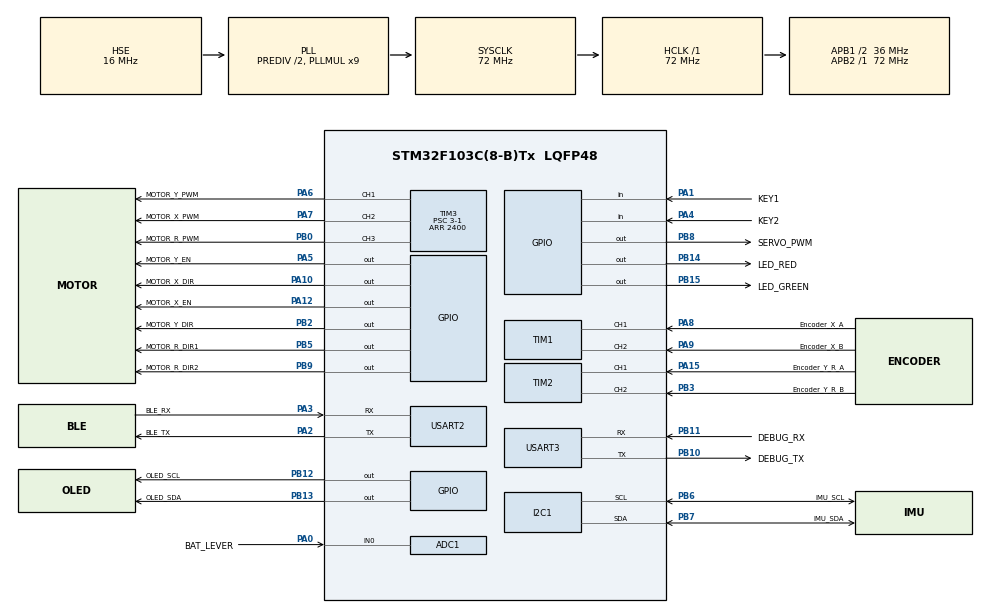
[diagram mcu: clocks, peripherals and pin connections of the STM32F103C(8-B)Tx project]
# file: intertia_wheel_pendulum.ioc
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ADC1.Channel-0\#ChannelRegularConversion=ADC_CHANNEL_0
ADC1.NbrOfConversionFlag=1
ADC1.Rank-0\#ChannelRegularConversion=1
ADC1.SamplingTime-0\#ChannelRegularConversion=ADC_SAMPLETIME_1CYCLE_5
ADC1.master=1
I2C1.I2C_Mode=I2C_Fast
Mcu.Family=STM32F1
Mcu.Name=STM32F103C(8-B)Tx
Mcu.Package=LQFP48
NVIC.PriorityGroup=NVIC_PRIORITYGROUP_4
NVIC.TIM4_IRQn=true\:0\:0\:false\:false\:true\:true\:true
PA0-WKUP.GPIO_Label=BAT_LEVER
PA0-WKUP.Signal=ADCx_IN0
PA1.GPIO_Label=KEY1
PA1.GPIO_PuPd=GPIO_PULLUP
PA1.Signal=GPIO_Input
PA10.GPIO_Label=MOTOR_X_DIR
PA10.Signal=GPIO_Output
PA12.GPIO_Label=MOTOR_X_EN
PA12.Signal=GPIO_Output
PA13.Mode=Serial_Wire
PA13.Signal=SYS_JTMS-SWDIO
PA14.Mode=Serial_Wire
PA14.Signal=SYS_JTCK-SWCLK
PA15.GPIO_Label=Encoder_Y_R_A
PA15.Signal=S_TIM2_CH1_ETR
PA2.GPIO_Label=BLE_TX
PA2.Mode=Asynchronous
PA2.Signal=USART2_TX
PA3.GPIO_Label=BLE_RX
PA3.Mode=Asynchronous
PA3.Signal=USART2_RX
PA4.GPIO_Label=KEY2
PA4.GPIO_PuPd=GPIO_PULLUP
PA4.Signal=GPIO_Input
PA5.GPIO_Label=MOTOR_Y_EN
PA5.Signal=GPIO_Output
PA6.GPIO_Label=MOTOR_Y_PWM
PA6.Signal=S_TIM3_CH1
PA7.GPIO_Label=MOTOR_X_PWM
PA7.Signal=S_TIM3_CH2
PA8.GPIO_Label=Encoder_X_A
PA8.Signal=S_TIM1_CH1
PA9.GPIO_Label=Encoder_X_B
PA9.Signal=S_TIM1_CH2
PB0.GPIO_Label=MOTOR_R_PWM
PB0.Signal=S_TIM3_CH3
PB10.GPIO_Label=DEBUG_TX
PB10.Mode=Asynchronous
PB10.Signal=USART3_TX
PB11.GPIO_Label=DEBUG_RX
PB11.Mode=Asynchronous
PB11.Signal=USART3_RX
PB12.GPIO_Label=OLED_SCL
PB12.GPIO_ModeDefaultOutputPP=GPIO_MODE_OUTPUT_OD
PB12.Signal=GPIO_Output
PB13.GPIO_Label=OLED_SDA
PB13.GPIO_ModeDefaultOutputPP=GPIO_MODE_OUTPUT_OD
PB13.Signal=GPIO_Output
PB14.GPIO_Label=LED_RED
PB14.Signal=GPIO_Output
PB15.GPIO_Label=LED_GREEN
PB15.Signal=GPIO_Output
PB2.GPIO_Label=MOTOR_Y_DIR
PB2.Signal=GPIO_Output
PB3.GPIO_Label=Encoder_Y_R_B
PB3.Signal=S_TIM2_CH2
PB5.GPIO_Label=MOTOR_R_DIR1
PB5.Signal=GPIO_Output
PB6.GPIO_Label=IMU_SCL
PB6.Mode=I2C
PB6.Signal=I2C1_SCL
PB7.GPIO_Label=IMU_SDA
PB7.Mode=I2C
PB7.Signal=I2C1_SDA
PB8.GPIO_Label=SERVO_PWM
PB8.Signal=GPIO_Output
PB9.GPIO_Label=MOTOR_R_DIR2
PB9.Signal=GPIO_Output
PD0-OSC_IN.Mode=HSE-External-Oscillator
PD0-OSC_IN.Signal=RCC_OSC_IN
PD1-OSC_OUT.Mode=HSE-External-Oscillator
PD1-OSC_OUT.Signal=RCC_OSC_OUT
ProjectManager.HeapSize=0x200
ProjectManager.StackSize=0x400
ProjectManager.TargetToolchain=MDK-ARM V5.27
RCC.ADCPresc=RCC_ADCPCLK2_DIV6
RCC.AHBFreq_Value=72000000
RCC.APB1CLKDivider=RCC_HCLK_DIV2
RCC.APB1Freq_Value=36000000
RCC.APB1TimFreq_Value=72000000
RCC.APB2Freq_Value=72000000
RCC.APB2TimFreq_Value=72000000
RCC.HCLKFreq_Value=72000000
RCC.HSEDivPLL=RCC_HSE_PREDIV_DIV2
RCC.HSE_VALUE=16000000
RCC.PLLMUL=RCC_PLL_MUL9
RCC.PLLSourceVirtual=RCC_PLLSOURCE_HSE
RCC.SYSCLKFreq_VALUE=72000000
RCC.SYSCLKSource=RCC_SYSCLKSOURCE_PLLCLK
RCC.USBFreq_Value=72000000
SH.ADCx_IN0.0=ADC1_IN0,IN0
SH.S_TIM1_CH1.0=TIM1_CH1,Encoder_Interface
SH.S_TIM1_CH2.0=TIM1_CH2,Encoder_Interface
SH.S_TIM2_CH1_ETR.0=TIM2_CH1,Encoder_Interface
SH.S_TIM2_CH2.0=TIM2_CH2,Encoder_Interface
SH.S_TIM3_CH1.0=TIM3_CH1,PWM Generation1 CH1
SH.S_TIM3_CH2.0=TIM3_CH2,PWM Generation2 CH2
SH.S_TIM3_CH3.0=TIM3_CH3,PWM Generation3 CH3
TIM3.Channel-PWM\ Generation1\ CH1=TIM_CHANNEL_1
TIM3.Channel-PWM\ Generation2\ CH2=TIM_CHANNEL_2
TIM3.Channel-PWM\ Generation3\ CH3=TIM_CHANNEL_3
TIM3.Period=2400
TIM3.Prescaler=3-1
TIM4.Period=20000
TIM4.Prescaler=72-1
USART2.VirtualMode=VM_ASYNC
USART3.VirtualMode=VM_ASYNC
VP_TIM4_VS_ClockSourceINT.Mode=Internal
board=custom

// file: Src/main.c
/* USER CODE BEGIN Header */
/**
  ******************************************************************************
  * @file           : main.c
  * @brief          : Main program body
  ******************************************************************************
  * @attention
  *
  * <h2><center>&copy; Copyright (c) 2020 STMicroelectronics.
  * All rights reserved.</center></h2>
  *
  * This software component is licensed by ST under BSD 3-Clause license,
  * the "License"; You may not use this file except in compliance with the
  * License. You may obtain a copy of the License at:
  *                        opensource.org/licenses/BSD-3-Clause
  *
  ******************************************************************************
  */
/* USER CODE END Header */
#include "main.h"

/* USER CODE BEGIN Includes */
#include "sdk_include.h"
#include "system_adapter.h"
/* USER CODE END Includes */

ADC_HandleTypeDef hadc1;

I2C_HandleTypeDef hi2c1;

TIM_HandleTypeDef htim1;
TIM_HandleTypeDef htim2;
TIM_HandleTypeDef htim3;
TIM_HandleTypeDef htim4;

UART_HandleTypeDef huart2;
UART_HandleTypeDef huart3;

void SystemClock_Config(void);
static void MX_GPIO_Init(void);
static void MX_ADC1_Init(void);
static void MX_TIM1_Init(void);
static void MX_TIM2_Init(void);
static void MX_TIM3_Init(void);
static void MX_TIM4_Init(void);
static void MX_USART2_UART_Init(void);
static void MX_I2C1_Init(void);
static void MX_USART3_UART_Init(void);

int main(void)
{

    /* MCU Configuration--------------------------------------------------------*/

    /* Reset of all peripherals, Initializes the Flash interface and the Systick. */
    HAL_Init();

    /* Configure the system clock */
    SystemClock_Config();

    /* Initialize all configured peripherals */
    MX_GPIO_Init();
    MX_ADC1_Init();
    MX_TIM1_Init();
    MX_TIM2_Init();
    MX_TIM3_Init();
    MX_TIM4_Init();
    MX_USART2_UART_Init();
    MX_I2C1_Init();
    MX_USART3_UART_Init();
    /* USER CODE BEGIN 2 */
    delay_adapter_init(&g_delay_adapter);
    key_adapter_init(&g_key_adapter);
    led_adapter_init(&g_led_adapter);
    mpu6050_adapter_init(&g_mpu6050_adapter);
    oled_adapter_init(&g_oled_adapter);
    /* USER CODE END 2 */

    /* Infinite loop */
    /* USER CODE BEGIN WHILE */
    OLED_ColorTurn(0);//0������ʾ��1 ��ɫ��ʾ
    OLED_DisplayTurn(0);//0������ʾ 1 ��Ļ��ת��ʾ
    OLED_ShowString(20, 0,"Balance",8,1);
    OLED_ShowString(25, 8,"Board",8,1);
    OLED_ShowString(34, 16,"YJ",8,1);
    OLED_Refresh();

    while (1)
    {
//        set_led_state(0, true);
//        sdk_delay_ms(1);
//        set_led_state(0, false);
//        sdk_delay_ms(999);
        OLED_ShowString(55, 24,"*",8,1);
        sdk_delay_ms(500);
        OLED_Refresh();
        OLED_ShowString(55, 24," ",8,1);
        sdk_delay_ms(500);
        OLED_Refresh();
        /* USER CODE END WHILE */

    }
}

void SystemClock_Config(void)
{
    RCC_OscInitTypeDef RCC_OscInitStruct = {0};
    RCC_ClkInitTypeDef RCC_ClkInitStruct = {0};
    RCC_PeriphCLKInitTypeDef PeriphClkInit = {0};

    /** Initializes the RCC Oscillators according to the specified parameters
    * in the RCC_OscInitTypeDef structure.
    */
    RCC_OscInitStruct.OscillatorType = RCC_OSCILLATORTYPE_HSE;
    RCC_OscInitStruct.HSEState = RCC_HSE_ON;
    RCC_OscInitStruct.HSEPredivValue = RCC_HSE_PREDIV_DIV2;
    RCC_OscInitStruct.HSIState = RCC_HSI_ON;
    RCC_OscInitStruct.PLL.PLLState = RCC_PLL_ON;
    RCC_OscInitStruct.PLL.PLLSource = RCC_PLLSOURCE_HSE;
    RCC_OscInitStruct.PLL.PLLMUL = RCC_PLL_MUL9;
    if (HAL_RCC_OscConfig(&RCC_OscInitStruct) != HAL_OK)
    {
        Error_Handler();
    }
    /** Initializes the CPU, AHB and APB buses clocks
    */
    RCC_ClkInitStruct.ClockType = RCC_CLOCKTYPE_HCLK|RCC_CLOCKTYPE_SYSCLK
                                  |RCC_CLOCKTYPE_PCLK1|RCC_CLOCKTYPE_PCLK2;
    RCC_ClkInitStruct.SYSCLKSource = RCC_SYSCLKSOURCE_PLLCLK;
    RCC_ClkInitStruct.AHBCLKDivider = RCC_SYSCLK_DIV1;
    RCC_ClkInitStruct.APB1CLKDivider = RCC_HCLK_DIV2;
    RCC_ClkInitStruct.APB2CLKDivider = RCC_HCLK_DIV1;

    if (HAL_RCC_ClockConfig(&RCC_ClkInitStruct, FLASH_LATENCY_2) != HAL_OK)
    {
        Error_Handler();
    }
    PeriphClkInit.PeriphClockSelection = RCC_PERIPHCLK_ADC;
    PeriphClkInit.AdcClockSelection = RCC_ADCPCLK2_DIV6;
    if (HAL_RCCEx_PeriphCLKConfig(&PeriphClkInit) != HAL_OK)
    {
        Error_Handler();
    }
}

static void MX_ADC1_Init(void)
{

    ADC_ChannelConfTypeDef sConfig = {0};

    /** Common config
    */
    hadc1.Instance = ADC1;
    hadc1.Init.ScanConvMode = ADC_SCAN_DISABLE;
    hadc1.Init.ContinuousConvMode = DISABLE;
    hadc1.Init.DiscontinuousConvMode = DISABLE;
    hadc1.Init.ExternalTrigConv = ADC_SOFTWARE_START;
    hadc1.Init.DataAlign = ADC_DATAALIGN_RIGHT;
    hadc1.Init.NbrOfConversion = 1;
    if (HAL_ADC_Init(&hadc1) != HAL_OK)
    {
        Error_Handler();
    }
    /** Configure Regular Channel
    */
    sConfig.Channel = ADC_CHANNEL_0;
    sConfig.Rank = ADC_REGULAR_RANK_1;
    sConfig.SamplingTime = ADC_SAMPLETIME_1CYCLE_5;
    if (HAL_ADC_ConfigChannel(&hadc1, &sConfig) != HAL_OK)
    {
        Error_Handler();
    }

}

static void MX_I2C1_Init(void)
{

    hi2c1.Instance = I2C1;
    hi2c1.Init.ClockSpeed = 400000;
    hi2c1.Init.DutyCycle = I2C_DUTYCYCLE_2;
    hi2c1.Init.OwnAddress1 = 0;
    hi2c1.Init.AddressingMode = I2C_ADDRESSINGMODE_7BIT;
    hi2c1.Init.DualAddressMode = I2C_DUALADDRESS_DISABLE;
    hi2c1.Init.OwnAddress2 = 0;
    hi2c1.Init.GeneralCallMode = I2C_GENERALCALL_DISABLE;
    hi2c1.Init.NoStretchMode = I2C_NOSTRETCH_DISABLE;
    if (HAL_I2C_Init(&hi2c1) != HAL_OK)
    {
        Error_Handler();
    }

}

static void MX_TIM1_Init(void)
{

    TIM_Encoder_InitTypeDef sConfig = {0};
    TIM_MasterConfigTypeDef sMasterConfig = {0};

    htim1.Instance = TIM1;
    htim1.Init.Prescaler = 0;
    htim1.Init.CounterMode = TIM_COUNTERMODE_UP;
    htim1.Init.Period = 65535;
    htim1.Init.ClockDivision = TIM_CLOCKDIVISION_DIV1;
    htim1.Init.RepetitionCounter = 0;
    htim1.Init.AutoReloadPreload = TIM_AUTORELOAD_PRELOAD_DISABLE;
    sConfig.EncoderMode = TIM_ENCODERMODE_TI1;
    sConfig.IC1Polarity = TIM_ICPOLARITY_RISING;
    sConfig.IC1Selection = TIM_ICSELECTION_DIRECTTI;
    sConfig.IC1Prescaler = TIM_ICPSC_DIV1;
    sConfig.IC1Filter = 0;
    sConfig.IC2Polarity = TIM_ICPOLARITY_RISING;
    sConfig.IC2Selection = TIM_ICSELECTION_DIRECTTI;
    sConfig.IC2Prescaler = TIM_ICPSC_DIV1;
    sConfig.IC2Filter = 0;
    if (HAL_TIM_Encoder_Init(&htim1, &sConfig) != HAL_OK)
    {
        Error_Handler();
    }
    sMasterConfig.MasterOutputTrigger = TIM_TRGO_RESET;
    sMasterConfig.MasterSlaveMode = TIM_MASTERSLAVEMODE_DISABLE;
    if (HAL_TIMEx_MasterConfigSynchronization(&htim1, &sMasterConfig) != HAL_OK)
    {
        Error_Handler();
    }
    /* USER CODE BEGIN TIM1_Init 2 */
    HAL_TIM_Encoder_Start(&htim1, TIM_CHANNEL_ALL);
    /* USER CODE END TIM1_Init 2 */

}

static void MX_TIM2_Init(void)
{

    TIM_Encoder_InitTypeDef sConfig = {0};
    TIM_MasterConfigTypeDef sMasterConfig = {0};

    htim2.Instance = TIM2;
    htim2.Init.Prescaler = 0;
    htim2.Init.CounterMode = TIM_COUNTERMODE_UP;
    htim2.Init.Period = 65535;
    htim2.Init.ClockDivision = TIM_CLOCKDIVISION_DIV1;
    htim2.Init.AutoReloadPreload = TIM_AUTORELOAD_PRELOAD_DISABLE;
    sConfig.EncoderMode = TIM_ENCODERMODE_TI1;
    sConfig.IC1Polarity = TIM_ICPOLARITY_RISING;
    sConfig.IC1Selection = TIM_ICSELECTION_DIRECTTI;
    sConfig.IC1Prescaler = TIM_ICPSC_DIV1;
    sConfig.IC1Filter = 0;
    sConfig.IC2Polarity = TIM_ICPOLARITY_RISING;
    sConfig.IC2Selection = TIM_ICSELECTION_DIRECTTI;
    sConfig.IC2Prescaler = TIM_ICPSC_DIV1;
    sConfig.IC2Filter = 0;
    if (HAL_TIM_Encoder_Init(&htim2, &sConfig) != HAL_OK)
    {
        Error_Handler();
    }
    sMasterConfig.MasterOutputTrigger = TIM_TRGO_RESET;
    sMasterConfig.MasterSlaveMode = TIM_MASTERSLAVEMODE_DISABLE;
    if (HAL_TIMEx_MasterConfigSynchronization(&htim2, &sMasterConfig) != HAL_OK)
    {
        Error_Handler();
    }
    /* USER CODE BEGIN TIM2_Init 2 */
    HAL_TIM_Encoder_Start(&htim2, TIM_CHANNEL_ALL);
    /* USER CODE END TIM2_Init 2 */

}

static void MX_TIM3_Init(void)
{

    TIM_MasterConfigTypeDef sMasterConfig = {0};
    TIM_OC_InitTypeDef sConfigOC = {0};

    htim3.Instance = TIM3;
    htim3.Init.Prescaler = 3-1;
    htim3.Init.CounterMode = TIM_COUNTERMODE_UP;
    htim3.Init.Period = 2400;
    htim3.Init.ClockDivision = TIM_CLOCKDIVISION_DIV1;
    htim3.Init.AutoReloadPreload = TIM_AUTORELOAD_PRELOAD_DISABLE;
    if (HAL_TIM_PWM_Init(&htim3) != HAL_OK)
    {
        Error_Handler();
    }
    sMasterConfig.MasterOutputTrigger = TIM_TRGO_RESET;
    sMasterConfig.MasterSlaveMode = TIM_MASTERSLAVEMODE_DISABLE;
    if (HAL_TIMEx_MasterConfigSynchronization(&htim3, &sMasterConfig) != HAL_OK)
    {
        Error_Handler();
    }
    sConfigOC.OCMode = TIM_OCMODE_PWM1;
    sConfigOC.Pulse = 0;
    sConfigOC.OCPolarity = TIM_OCPOLARITY_HIGH;
    sConfigOC.OCFastMode = TIM_OCFAST_DISABLE;
    if (HAL_TIM_PWM_ConfigChannel(&htim3, &sConfigOC, TIM_CHANNEL_1) != HAL_OK)
    {
        Error_Handler();
    }
    if (HAL_TIM_PWM_ConfigChannel(&htim3, &sConfigOC, TIM_CHANNEL_2) != HAL_OK)
    {
        Error_Handler();
    }
    if (HAL_TIM_PWM_ConfigChannel(&htim3, &sConfigOC, TIM_CHANNEL_3) != HAL_OK)
    {
        Error_Handler();
    }
    /* USER CODE BEGIN TIM3_Init 2 */
    HAL_TIM_PWM_Start(&htim3, TIM_CHANNEL_1);
    HAL_TIM_PWM_Start(&htim3, TIM_CHANNEL_2);
    HAL_TIM_PWM_Start(&htim3, TIM_CHANNEL_3);
    /* USER CODE END TIM3_Init 2 */
    HAL_TIM_MspPostInit(&htim3);

}

static void MX_TIM4_Init(void)
{

    TIM_ClockConfigTypeDef sClockSourceConfig = {0};
    TIM_MasterConfigTypeDef sMasterConfig = {0};

    htim4.Instance = TIM4;
    htim4.Init.Prescaler = 72-1;
    htim4.Init.CounterMode = TIM_COUNTERMODE_UP;
    htim4.Init.Period = 20000;
    htim4.Init.ClockDivision = TIM_CLOCKDIVISION_DIV1;
    htim4.Init.AutoReloadPreload = TIM_AUTORELOAD_PRELOAD_DISABLE;
    if (HAL_TIM_Base_Init(&htim4) != HAL_OK)
    {
        Error_Handler();
    }
    sClockSourceConfig.ClockSource = TIM_CLOCKSOURCE_INTERNAL;
    if (HAL_TIM_ConfigClockSource(&htim4, &sClockSourceConfig) != HAL_OK)
    {
        Error_Handler();
    }
    sMasterConfig.MasterOutputTrigger = TIM_TRGO_RESET;
    sMasterConfig.MasterSlaveMode = TIM_MASTERSLAVEMODE_DISABLE;
    if (HAL_TIMEx_MasterConfigSynchronization(&htim4, &sMasterConfig) != HAL_OK)
    {
        Error_Handler();
    }
    /* USER CODE BEGIN TIM4_Init 2 */
    HAL_TIM_Base_Start_IT(&htim4);
    /* USER CODE END TIM4_Init 2 */

}

static void MX_USART2_UART_Init(void)
{

    huart2.Instance = USART2;
    huart2.Init.BaudRate = 115200;
    huart2.Init.WordLength = UART_WORDLENGTH_8B;
    huart2.Init.StopBits = UART_STOPBITS_1;
    huart2.Init.Parity = UART_PARITY_NONE;
    huart2.Init.Mode = UART_MODE_TX_RX;
    huart2.Init.HwFlowCtl = UART_HWCONTROL_NONE;
    huart2.Init.OverSampling = UART_OVERSAMPLING_16;
    if (HAL_UART_Init(&huart2) != HAL_OK)
    {
        Error_Handler();
    }

}

static void MX_USART3_UART_Init(void)
{

    huart3.Instance = USART3;
    huart3.Init.BaudRate = 115200;
    huart3.Init.WordLength = UART_WORDLENGTH_8B;
    huart3.Init.StopBits = UART_STOPBITS_1;
    huart3.Init.Parity = UART_PARITY_NONE;
    huart3.Init.Mode = UART_MODE_TX_RX;
    huart3.Init.HwFlowCtl = UART_HWCONTROL_NONE;
    huart3.Init.OverSampling = UART_OVERSAMPLING_16;
    if (HAL_UART_Init(&huart3) != HAL_OK)
    {
        Error_Handler();
    }

}

static void MX_GPIO_Init(void)
{
    GPIO_InitTypeDef GPIO_InitStruct = {0};

    /* GPIO Ports Clock Enable */
    __HAL_RCC_GPIOD_CLK_ENABLE();
    __HAL_RCC_GPIOA_CLK_ENABLE();
    __HAL_RCC_GPIOB_CLK_ENABLE();

    /*Configure GPIO pin Output Level */
    HAL_GPIO_WritePin(GPIOA, MOTOR_Y_EN_Pin|MOTOR_X_DIR_Pin|MOTOR_X_EN_Pin, GPIO_PIN_RESET);

    /*Configure GPIO pin Output Level */
    HAL_GPIO_WritePin(GPIOB, MOTOR_Y_DIR_Pin|OLED_SCL_Pin|OLED_SDA_Pin|LED_RED_Pin
                      |LED_GREEN_Pin|MOTOR_R_DIR1_Pin|SERVO_PWM_Pin|MOTOR_R_DIR2_Pin, GPIO_PIN_RESET);

    /*Configure GPIO pins : KEY1_Pin KEY2_Pin */
    GPIO_InitStruct.Pin = KEY1_Pin|KEY2_Pin;
    GPIO_InitStruct.Mode = GPIO_MODE_INPUT;
    GPIO_InitStruct.Pull = GPIO_PULLUP;
    HAL_GPIO_Init(GPIOA, &GPIO_InitStruct);

    /*Configure GPIO pins : MOTOR_Y_EN_Pin MOTOR_X_DIR_Pin MOTOR_X_EN_Pin */
    GPIO_InitStruct.Pin = MOTOR_Y_EN_Pin|MOTOR_X_DIR_Pin|MOTOR_X_EN_Pin;
    GPIO_InitStruct.Mode = GPIO_MODE_OUTPUT_PP;
    GPIO_InitStruct.Pull = GPIO_NOPULL;
    GPIO_InitStruct.Speed = GPIO_SPEED_FREQ_LOW;
    HAL_GPIO_Init(GPIOA, &GPIO_InitStruct);

    /*Configure GPIO pins : MOTOR_Y_DIR_Pin LED_RED_Pin LED_GREEN_Pin MOTOR_R_DIR1_Pin
                             SERVO_PWM_Pin MOTOR_R_DIR2_Pin */
    GPIO_InitStruct.Pin = MOTOR_Y_DIR_Pin|LED_RED_Pin|LED_GREEN_Pin|MOTOR_R_DIR1_Pin
                          |SERVO_PWM_Pin|MOTOR_R_DIR2_Pin;
    GPIO_InitStruct.Mode = GPIO_MODE_OUTPUT_PP;
    GPIO_InitStruct.Pull = GPIO_NOPULL;
    GPIO_InitStruct.Speed = GPIO_SPEED_FREQ_LOW;
    HAL_GPIO_Init(GPIOB, &GPIO_InitStruct);

    /*Configure GPIO pins : OLED_SCL_Pin OLED_SDA_Pin */
    GPIO_InitStruct.Pin = OLED_SCL_Pin|OLED_SDA_Pin;
    GPIO_InitStruct.Mode = GPIO_MODE_OUTPUT_OD;
    GPIO_InitStruct.Pull = GPIO_NOPULL;
    GPIO_InitStruct.Speed = GPIO_SPEED_FREQ_LOW;
    HAL_GPIO_Init(GPIOB, &GPIO_InitStruct);

}

void Error_Handler(void)
{
}

/************************ (C) COPYRIGHT STMicroelectronics *****END OF FILE****/
